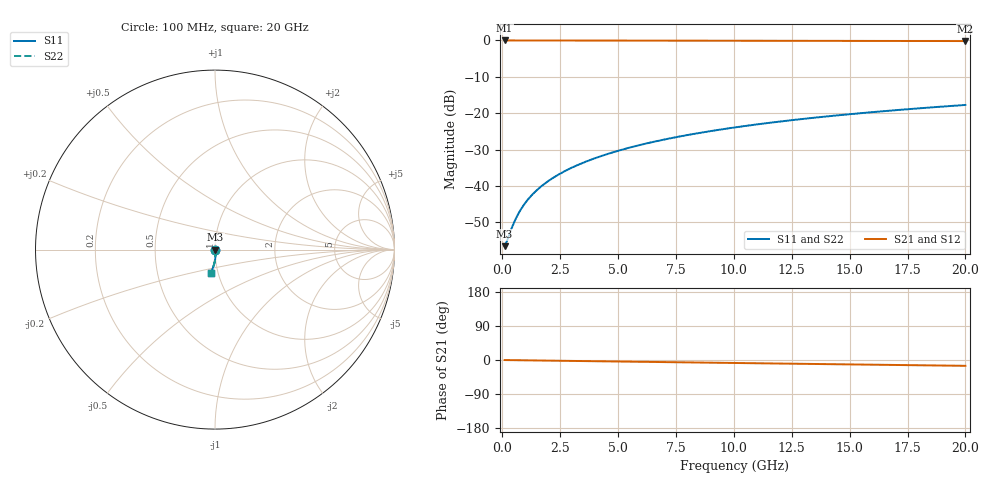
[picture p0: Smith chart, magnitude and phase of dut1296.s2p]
! Touchstone file exported from HFSS 2026.1.0
!  File:  C:/ffzhzh/LocalFiles/Ansys_Project_Files/temp_train_TMRDL_1296_1783164615_51560.aedt
!  Generated:  07:31:18 PM Jul  4, 2026
!  Design:  TMRDL
!  Project:  temp_train_TMRDL_1296_1783164615_51560
! Variables:
!  h_bsmrdl = 2um
!  h_ox = 20um
!  h_rdl = 5um
!  h_sub = 80um
!  h_tmrdl = 5.31um
!  h_tsv = 80um
!  h_via = 3um
!  l_bsmrdl = 300um
!  l_sub = 633.7um
!  l_tmrdl = 233.7um
!  m_sub = 200um
!  pitch = 13.23um
!  r_tsv = 6um
!  s_tmrdl = 10um
!  w_bsmrdl = 18um
!  w_sub = 500um
!  w_tmrdl = 11.83um
!  x_tsv_center1 = 239.615um
!  x_tsv_center2 = 557.615um
!  x_tsv_center3 = 803.145um
!  x_tsv_center4 = 1121.145um
!  x_tsv_center5 = 1366.675um
!  x_tsv_center6 = 1684.675um
# GHz S MA R 50.000000
! Terminal data exported
! Port[1] = TM_RDL1_1_T1
! Port[2] = TM_RDL1_1_T2
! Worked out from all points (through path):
!   200 points, 100 MHz to 20 GHz, reference 50 ohm
!   highest |S21| = -0.01 dB at 100 MHz (marker M1); lowest = -0.2 dB at 20 GHz (marker M2)
!   group delay of S21, straight-line fit = 2.12 ps
!   lowest |S11| = -56.5 dB at 100 MHz (marker M3), VSWR 1.00, Z = 50.1 - j0.032 ohm
!   |S11| at or under -10 dB: start of sweep to end of sweep
!   |S22| runs from -56.5 to -17.7 dB; largest |S21 - S12| = 5.1e-15
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0.1  0.001491 -12.3  0.9985 -0.1  0.9985 -0.1  0.001491 -12.3
! Gamma 0 0 0 0
! Port Impedance 50 0 50 0
0.2  0.001755 -23.7  0.9984 -0.2  0.9984 -0.2  0.001755 -23.7
0.4  0.002604 -41.5  0.998 -0.4  0.998 -0.4  0.002604 -41.5
0.5  0.003112 -47.9  0.9979 -0.4  0.9979 -0.4  0.003112 -47.9
0.7  0.004199 -57.1  0.9977 -0.6  0.9977 -0.6  0.004199 -57.1
0.8  0.004761 -60.5  0.9976 -0.7  0.9976 -0.7  0.004761 -60.5
1  0.005903 -65.5  0.9975 -0.8  0.9975 -0.8  0.005903 -65.5
1.3  0.007642 -70.5  0.9973 -1.1  0.9973 -1.1  0.007643 -70.5
1.7  0.009993 -74.7  0.9971 -1.4  0.9971 -1.4  0.009994 -74.7
2.2  0.01297 -77.8  0.9968 -1.8  0.9968 -1.8  0.01297 -77.8
2.8  0.01661 -80.2  0.9964 -2.3  0.9964 -2.3  0.01661 -80.2
3.5  0.02093 -82.0  0.9958 -2.8  0.9958 -2.8  0.02093 -82.0
4.2  0.02533 -83.4  0.9953 -3.4  0.9953 -3.4  0.02533 -83.4
5  0.03045 -84.7  0.9946 -4.0  0.9946 -4.0  0.03045 -84.7
5.9  0.03629 -85.9  0.9938 -4.7  0.9938 -4.7  0.0363 -85.9
6.8  0.04221 -87.1  0.993 -5.4  0.993 -5.4  0.04221 -87.1
8.3  0.05217 -88.9  0.9916 -6.6  0.9916 -6.6  0.05218 -88.8
10.1  0.0642 -90.8  0.99 -7.9  0.99 -7.9  0.06421 -90.8
11.7  0.07491 -92.5  0.9884 -9.1  0.9884 -9.1  0.07492 -92.5
13.4  0.08627 -94.2  0.9868 -10.4  0.9868 -10.4  0.08628 -94.1
16.7  0.1082 -97.3  0.9833 -12.9  0.9833 -12.9  0.1082 -97.2
20  0.1298 -100.2  0.9795 -15.4  0.9795 -15.4  0.1299 -100.1
